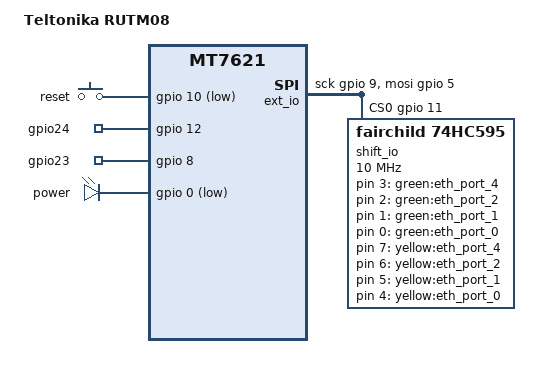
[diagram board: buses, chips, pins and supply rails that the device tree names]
#include "mt7621-teltonika-rutm-common.dtsi"

/ {
	compatible = "teltonika,rutm", "mediatek,mt7621-soc";
	model = "Teltonika RUTM08";

	ext_io {
		compatible = "spi-gpio";
		#address-cells = <1>;
		#size-cells = <0>;

		gpio-sck = <&gpio 9 GPIO_ACTIVE_HIGH>;	// 74HC595 SRCLK (Serial Clock)
		gpio-mosi = <&gpio 5 GPIO_ACTIVE_HIGH>;	// 74HC595 SER (Serial)
		cs-gpios = <&gpio 11 GPIO_ACTIVE_HIGH>;		// 74HC595 RCLK (Register Clock)
		num-chipselects = <1>;

		shift_io: shift_io@0 {
			compatible = "fairchild,74hc595";
			reg = <0>;
			gpio-controller;
			#gpio-cells = <2>;
			registers-number = <1>;
			spi-max-frequency = <10000000>;
		};
	};

	keys {
		compatible = "gpio-keys";

		reset {
			label = "reset";
			gpios = <&gpio 10 GPIO_ACTIVE_LOW>;
			linux,code = <KEY_RESTART>;
		};
	};

	gpio-export {
		compatible = "gpio-export";
		#size-cells = <0>;

		gpio_in_1 {
			gpio-export,name = "gpio24";
			gpio-export,input = <0>;
			gpios = <&gpio 12 GPIO_ACTIVE_HIGH>;
		};

		gpio_out_1 {
			gpio-export,name = "gpio23";
			gpio-export,output = <0>;
			gpios = <&gpio 8 GPIO_ACTIVE_HIGH>;
		};

		green_eth_port_4 {
			gpio-export,name = "green:eth_port_4";
			gpio-export,output = <0>;
			gpios = <&shift_io 3 GPIO_ACTIVE_HIGH>;
		};

		green_eth_port_2 {
			gpio-export,name = "green:eth_port_2";
			gpio-export,output = <0>;
			gpios = <&shift_io 2 GPIO_ACTIVE_HIGH>;
		};

		green_eth_port_1 {
			gpio-export,name = "green:eth_port_1";
			gpio-export,output = <0>;
			gpios = <&shift_io 1 GPIO_ACTIVE_HIGH>;
		};

		green_eth_port_0 {
			gpio-export,name = "green:eth_port_0";
			gpio-export,output = <0>;
			gpios = <&shift_io 0 GPIO_ACTIVE_HIGH>;
		};

		yellow_eth_port_4 {
			gpio-export,name = "yellow:eth_port_4";
			gpio-export,output = <0>;
			gpios = <&shift_io 7 GPIO_ACTIVE_HIGH>;
		};

		yellow_eth_port_2 {
			gpio-export,name = "yellow:eth_port_2";
			gpio-export,output = <0>;
			gpios = <&shift_io 6 GPIO_ACTIVE_HIGH>;
		};

		yellow_eth_port_1 {
			gpio-export,name = "yellow:eth_port_1";
			gpio-export,output = <0>;
			gpios = <&shift_io 5 GPIO_ACTIVE_HIGH>;
		};

		yellow_eth_port_0 {
			gpio-export,name = "yellow:eth_port_0";
			gpio-export,output = <0>;
			gpios = <&shift_io 4 GPIO_ACTIVE_HIGH>;
		};

	};

	leds {
		compatible = "gpio-leds";

		led_power {
			label = "power";
			gpios = <&gpio 0 GPIO_ACTIVE_LOW>;
			default-state = "on";
		};
	};
};

&state_default {
	gpio {
		groups = "wdt", "jtag", "sdhci", "uart2", "uart3";
		function = "gpio";
	};
};

&switch0 {
	ports {
		port@0 {
			status = "okay";
			label = "lan1";
		};

		port@1 {
			status = "okay";
			label = "lan2";
		};

		port@2 {
			status = "okay";
			label = "lan3";
		};
	};
};
